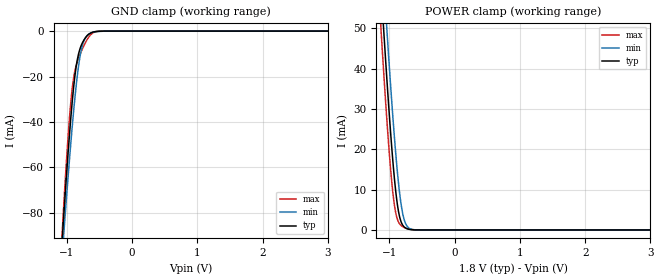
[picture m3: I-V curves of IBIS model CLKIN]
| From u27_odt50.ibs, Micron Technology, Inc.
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|   MODEL CLKIN
[Model]   CLKIN
Model_type   Input
Vinl = 650.000mV
Vinh = 1.150V
|   typ   min   max
C_comp   1.210pF   0.710pF   1.700pF
[Model Spec]
| Input threshold voltage corners
Vinl   0.650V   0.600V   0.700V
Vinh   1.150V   1.100V   1.200V
[Voltage Range]   1.800V   1.700V   1.900V
| Junction Temperature (Ambient temp is 25C typ, 70C min, 0C max)
[Temperature Range]   40.0   85.0   0.0
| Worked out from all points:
|   GND clamp passes 1 mA (typ) near -0.64 V on its own axis
|   POWER clamp passes 1 mA (typ) near -0.79 V on its own axis
[GND Clamp]
|   Voltage   I(typ)   I(min)   I(max)
-1.8V     -447.4mA   -406.8mA   -504.9mA
-1.08V    -95.46mA   NA         -92.77mA
-1.06V    -86.6mA    NA         NA
-1.05V    -82.24mA   -90.11mA   -77.62mA
-1.04V    -77.9mA    NA         NA
-960mV    -45.51mA   NA         -38.12mA
-900mV    -25.65mA   NA         -21.29mA
-840mV    -12.59mA   NA         NA
-780mV    -6.294mA   NA         -9.011mA
-660mV    -1.295mA   NA         NA
-420mV    0A         NA         NA
3.6V      0A         0A         0A
[POWER Clamp]
|   Voltage   I(typ)   I(min)   I(max)
-1.8V     254mA      265.4mA    244.8mA
-1.14V    63.43mA    NA         NA
-1.12V    58.13mA    NA         NA
-1.08V    47.75mA    NA         NA
-1.04V    37.76mA    NA         27.61mA
-970mV    21.78mA    33.26mA    13.01mA
-920mV    12.28mA    NA         5.881mA
-860mV    4.553mA    NA         1.971mA
-780mV    848.5uA    NA         NA
-720mV    251.9uA    NA         NA
-620mV    26.83uA    NA         NA
3.6V      0A         0A         0A
